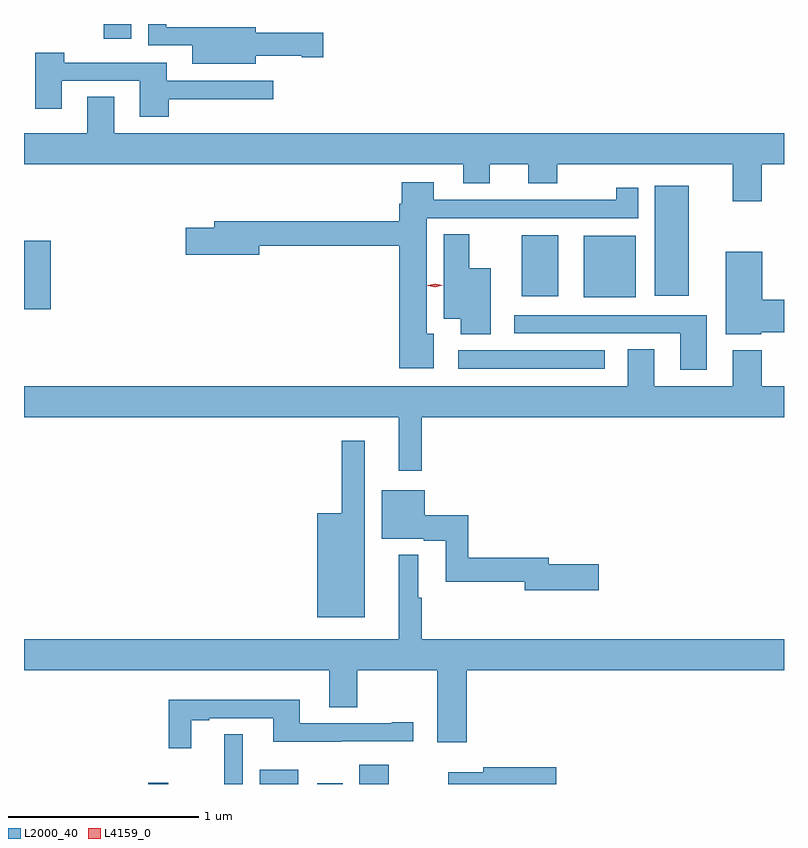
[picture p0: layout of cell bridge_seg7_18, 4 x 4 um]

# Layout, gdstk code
import gdstk
lib = gdstk.Library(unit=1e-6, precision=1e-09)
def R(c, l, rs):  # rectangles x0, y0, x1, y1
    for r in rs: c.add(gdstk.rectangle(r[:2], r[2:], *l))
def P(c, l, *ps):  # polygons
    for p in ps: c.add(gdstk.Polygon(p, *l))
L2000_40 = (2000, 40)
L4159_0 = (4159, 0)

bridge_seg7_18 = lib.new_cell('bridge_seg7_18')
R(bridge_seg7_18, L2000_40, [(1055.138,1067.95,1055.242,1067.957), (1055.538,1067.95,1055.634,1068.212), (1055.723,1067.95,1055.926,1068.025), (1056.026,1067.95,1056.16,1067.953), (1056.248,1067.95,1056.403,1068.052), (1056.768,1070.136,1057.54,1070.232), (1054.483,1070.448,1054.625,1070.809), (1057.43,1070.513,1057.702,1070.836), (1057.103,1070.516,1057.294,1070.839), (1057.802,1070.519,1057.981,1071.1), (1054.904,1071.873,1055.047,1071.95)])
P(bridge_seg7_18, L2000_40, [(1055.704,1071.782),(1055.945,1071.782),(1055.945,1071.775),(1056.058,1071.775),(1056.058,1071.904),(1055.704,1071.904),(1055.704,1071.934),(1055.478,1071.934),(1055.478,1071.933),(1055.232,1071.933),(1055.232,1071.95),(1055.136,1071.95),(1055.136,1071.837),(1055.369,1071.837),(1055.369,1071.74),(1055.704,1071.74)],
  [(1055.246,1071.554),(1055.794,1071.554),(1055.794,1071.651),(1055.233,1071.651),(1055.233,1071.747),(1054.694,1071.747),(1054.694,1071.799),(1054.541,1071.799),(1054.541,1071.504),(1054.681,1071.504),(1054.681,1071.651),(1055.093,1071.651),(1055.093,1071.462),(1055.246,1071.462)],
  [(1058.366,1071.212),(1058.483,1071.212),(1058.483,1071.376),(1054.957,1071.376),(1054.957,1071.566),(1054.817,1071.566),(1054.817,1071.376),(1054.483,1071.376),(1054.483,1071.212),(1056.794,1071.212),(1056.794,1071.113),(1056.934,1071.113),(1056.934,1071.212),(1057.136,1071.212),(1057.136,1071.113),(1057.289,1071.113),(1057.289,1071.212),(1058.213,1071.212),(1058.213,1071.018),(1058.366,1071.018)],
  [(1056.64,1070.32),(1056.604,1070.32),(1056.604,1070.928),(1057.717,1070.928),(1057.717,1071.088),(1057.6,1071.088),(1057.6,1071.026),(1057.372,1071.026),(1057.372,1071.024),(1056.64,1071.024),(1056.64,1071.118),(1056.47,1071.118),(1056.47,1071.005),(1056.458,1071.005),(1056.458,1070.911),(1055.483,1070.911),(1055.483,1070.877),(1055.334,1070.877),(1055.334,1070.735),(1055.722,1070.735),(1055.722,1070.782),(1056.458,1070.782),(1056.458,1070.138),(1056.64,1070.138)],
  [(1056.94,1070.665),(1056.826,1070.665),(1056.826,1070.843),(1056.692,1070.843),(1056.692,1070.399),(1056.782,1070.399),(1056.782,1070.317),(1056.94,1070.317)],
  [(1058.364,1070.327),(1058.483,1070.327),(1058.483,1070.498),(1058.368,1070.498),(1058.368,1070.752),(1058.177,1070.752),(1058.177,1070.318),(1058.364,1070.318)],
  [(1058.077,1070.418),(1057.062,1070.418),(1057.062,1070.322),(1057.937,1070.322),(1057.937,1070.13),(1058.077,1070.13)],
  [(1056.577,1069.88),(1058.483,1069.88),(1058.483,1070.044),(1058.366,1070.044),(1058.366,1070.233),(1058.213,1070.233),(1058.213,1070.044),(1057.801,1070.044),(1057.801,1070.237),(1057.661,1070.237),(1057.661,1070.044),(1054.483,1070.044),(1054.483,1069.88),(1056.455,1069.88),(1056.455,1069.599),(1056.577,1069.599)],
  [(1056.277,1069.756),(1056.156,1069.756),(1056.156,1069.375),(1056.026,1069.375),(1056.026,1068.827),(1056.277,1068.827)],
  [(1057.507,1069.106),(1057.246,1069.106),(1057.246,1069.142),(1056.821,1069.142),(1056.821,1069.364),(1056.592,1069.364),(1056.592,1069.495),(1056.365,1069.495),(1056.365,1069.241),(1056.588,1069.241),(1056.588,1069.231),(1056.704,1069.231),(1056.704,1069.014),(1057.118,1069.014),(1057.118,1068.971),(1057.507,1068.971)],
  [(1056.812,1068.548),(1058.483,1068.548),(1058.483,1068.712),(1056.577,1068.712),(1056.577,1068.929),(1056.557,1068.929),(1056.557,1069.156),(1056.455,1069.156),(1056.455,1068.712),(1054.483,1068.712),(1054.483,1068.548),(1056.089,1068.548),(1056.089,1068.355),(1056.237,1068.355),(1056.237,1068.548),(1056.659,1068.548),(1056.659,1068.171),(1056.812,1068.171)],
  [(1055.362,1068.285),(1055.458,1068.285),(1055.458,1068.297),(1055.795,1068.297),(1055.795,1068.172),(1056.152,1068.172),(1056.152,1068.174),(1056.532,1068.174),(1056.532,1068.275),(1056.419,1068.275),(1056.419,1068.27),(1055.935,1068.27),(1055.935,1068.394),(1055.245,1068.394),(1055.245,1068.138),(1055.362,1068.138)],
  [(1057.285,1068.038),(1056.9,1068.038),(1056.9,1068.013),(1056.717,1068.013),(1056.717,1067.95),(1057.285,1067.95)])
P(bridge_seg7_18, L4159_0, [(1056.647,1070.564),(1056.608,1070.573),(1056.608,1070.573),(1056.608,1070.574),(1056.647,1070.584),(1056.686,1070.574),(1056.686,1070.574),(1056.686,1070.574)])

lib.write_gds('bridge_seg7_18.gds')
